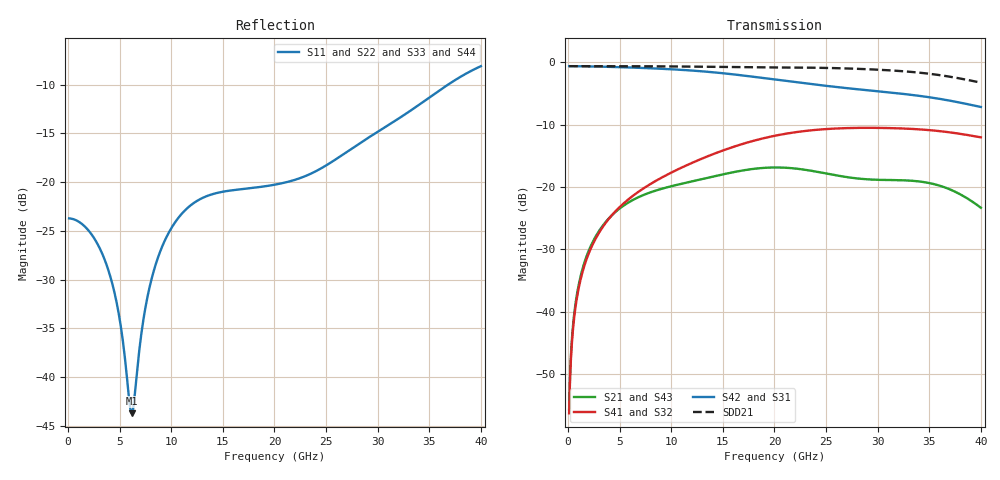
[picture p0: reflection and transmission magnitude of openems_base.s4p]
! E_s8_L1L8_p1200_round_g2: pair L1→L8, pitch 1.2 mm, two round antipads, 2 GND vias
! stackup: 8-layer 1.6 mm FR-4 (generic)
! ports: 1 P near, 2 N near, 3 P far, 4 N far
! openEMS 0.37.0, staircase, base mesh (dfine 0.035 mm), 790920 cells
# Hz S RI R 50
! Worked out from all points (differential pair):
!   400 points, 100 MHz to 40 GHz, reference 50 ohm
!   strongest paths, dB at 100 MHz, 10.1 GHz, 20.1 GHz, 30.1 GHz, 40 GHz:
!     S42: -0.6, -1.1, -2.7, -4.6, -7.1
!     S31: -0.6, -1.1, -2.7, -4.6, -7.1
!     S41: -56.3, -17.6, -11.7, -10.5, -12.0
!     S32: -56.3, -17.6, -11.7, -10.5, -12.0
!     S21: -55.7, -19.8, -16.8, -18.8, -23.3
!     S43: -55.7, -19.8, -16.8, -18.8, -23.3
!   taken as a pair (ports 2,1 in; 4,3 out), SDD21 dB: -0.6, -0.6, -0.8, -1.2, -3.2
!   lowest |S11| = -43.7 dB at 6.2 GHz (marker M1), VSWR 1.01, Z = 49.5 + j0.382 ohm
!   |S11| at or under -10 dB: start of sweep to 36.82 GHz
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1e8  -0.0652 0.00229  0.00026 0.00162  0.9336 -0.0364  -0.000144 -0.00152
     0.00026 0.00162  -0.0652 0.00229  -0.000144 -0.00152  0.9336 -0.0364
     0.9336 -0.0364  -0.000135 -0.00152  -0.0651 0.00229  0.000269 0.00161
     -0.000135 -0.00152  0.9336 -0.0364  0.000269 0.00161  -0.0651 0.00229
6.2e9  -0.00526 0.00386  0.0382 -0.0683  -0.6739 -0.6122  -0.0409 0.0736
       0.0382 -0.0683  -0.00526 0.00386  -0.0409 0.0736  -0.6739 -0.6122
       -0.6739 -0.6122  -0.0409 0.0736  -0.00526 0.00386  0.0382 -0.0683
       -0.0409 0.0736  -0.6739 -0.6122  0.0382 -0.0683  -0.00526 0.00386
1.15e10  -0.0218 0.0698  -0.1081 0.0126  -0.2185 0.8395  0.1494 -0.012
         -0.1081 0.0126  -0.0218 0.0698  0.1494 -0.012  -0.2185 0.8395
         -0.2185 0.8395  0.1494 -0.012  -0.0218 0.0698  -0.1081 0.0126
         0.1494 -0.012  -0.2185 0.8395  -0.1081 0.0126  -0.0218 0.0698
1.6e10  0.0909 0.00261  0.0471 0.123  0.8007 0.0643  -0.0791 -0.1947
        0.0471 0.123  0.0909 0.00261  -0.0791 -0.1947  0.8007 0.0643
        0.8007 0.0643  -0.0791 -0.1947  0.0909 0.00261  0.0471 0.123
        -0.0791 -0.1947  0.8007 0.0643  0.0471 0.123  0.0909 0.00261
2.38e10  -0.102 -0.047  -0.0549 -0.1225  -0.6451 -0.1709  0.1685 0.2323
         -0.0549 -0.1225  -0.102 -0.047  0.1685 0.2323  -0.6451 -0.1709
         -0.6451 -0.1709  0.1685 0.2323  -0.102 -0.047  -0.0549 -0.1225
         0.1685 0.2323  -0.6451 -0.1709  -0.0549 -0.1225  -0.102 -0.047
3.25e10  0.1151 0.1874  0.0948 0.0622  0.556 0.06  -0.2808 -0.091
         0.0948 0.0622  0.1151 0.1874  -0.2808 -0.091  0.556 0.06
         0.556 0.06  -0.2808 -0.091  0.1151 0.1874  0.0948 0.0622
         -0.2808 -0.091  0.556 0.06  0.0948 0.0622  0.1151 0.1874
4e10  0.00216 -0.3931  -0.0644 -0.0227  -0.4156 -0.1431  0.2454 0.0518
      -0.0644 -0.0227  0.00216 -0.3931  0.2454 0.0518  -0.4156 -0.1431
      -0.4156 -0.1431  0.2454 0.0518  0.00216 -0.3931  -0.0644 -0.0227
      0.2454 0.0518  -0.4156 -0.1431  -0.0644 -0.0227  0.00216 -0.3931
